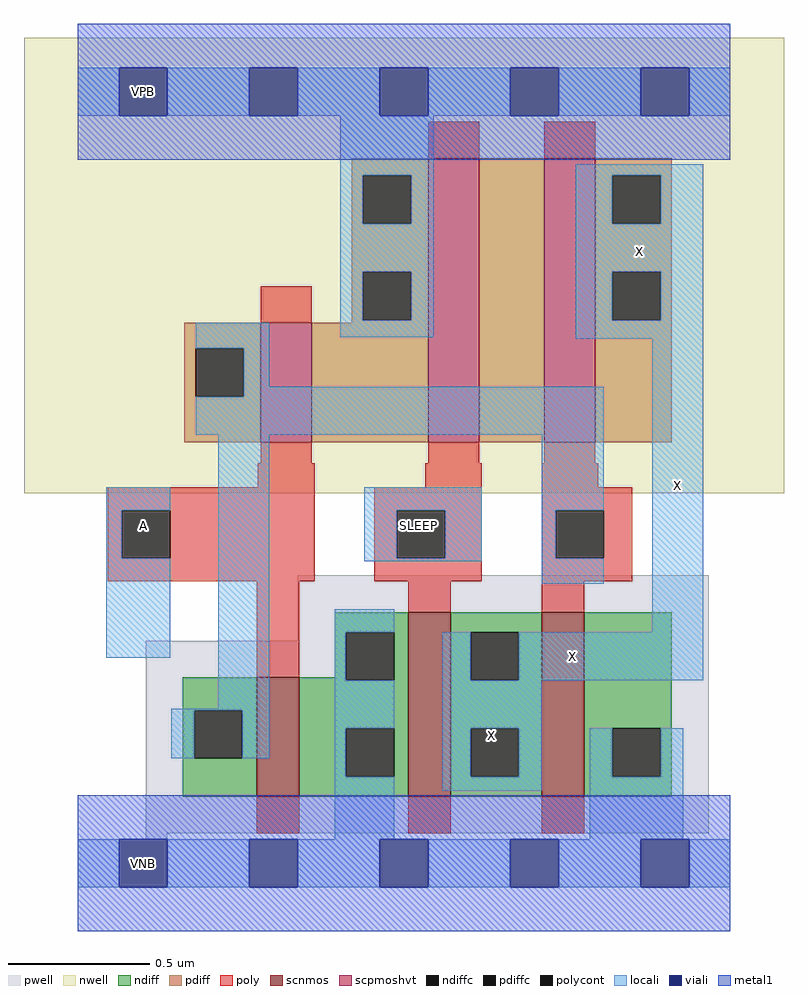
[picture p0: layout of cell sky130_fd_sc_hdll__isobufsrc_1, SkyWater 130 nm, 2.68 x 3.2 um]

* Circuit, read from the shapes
.subckt sky130_fd_sc_hdll__isobufsrc_1 A SLEEP VGND VNB VPB VPWR X
XM1 VGND A n1 VNB sky130_fd_pr__nfet_01v8 w=0.42 l=0.15
XM2 X SLEEP VGND VNB sky130_fd_pr__nfet_01v8 w=0.65 l=0.15
XM3 VGND n1 X VNB sky130_fd_pr__nfet_01v8 w=0.65 l=0.15
XM4 VPWR A n1 VPB sky130_fd_pr__pfet_01v8_hvt w=0.42 l=0.18
XM5 n2 SLEEP VPWR VPB sky130_fd_pr__pfet_01v8_hvt w=1 l=0.18
XM6 X n1 n2 VPB sky130_fd_pr__pfet_01v8_hvt w=1 l=0.18
.ends

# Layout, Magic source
magic
tech sky130A
magscale 1 2
<< nwell >>
rect -38 261 498 582
<< pwell >>
rect 155 157 445 203
rect 48 21 445 157
rect 48 17 63 21
rect 29 -17 63 17
<< scnmos >>
rect 126 47 156 131
rect 233 47 263 177
rect 327 47 357 177
<< scpmoshvt >>
rect 129 297 165 381
rect 247 297 283 497
rect 329 297 365 497
<< ndiff >>
rect 181 163 233 177
rect 181 131 189 163
rect 74 108 126 131
rect 74 74 82 108
rect 116 74 126 108
rect 74 47 126 74
rect 156 129 189 131
rect 223 129 233 163
rect 156 95 233 129
rect 156 61 189 95
rect 223 61 233 95
rect 156 47 233 61
rect 263 163 327 177
rect 263 129 277 163
rect 311 129 327 163
rect 263 95 327 129
rect 263 61 277 95
rect 311 61 327 95
rect 263 47 327 61
rect 357 95 419 177
rect 357 61 377 95
rect 411 61 419 95
rect 357 47 419 61
<< pdiff >>
rect 193 485 247 497
rect 193 451 201 485
rect 235 451 247 485
rect 193 417 247 451
rect 193 383 201 417
rect 235 383 247 417
rect 193 381 247 383
rect 75 363 129 381
rect 75 329 83 363
rect 117 329 129 363
rect 75 297 129 329
rect 165 297 247 381
rect 283 297 329 497
rect 365 485 419 497
rect 365 451 377 485
rect 411 451 419 485
rect 365 417 419 451
rect 365 383 377 417
rect 411 383 419 417
rect 365 297 419 383
<< ndiffc >>
rect 82 74 116 108
rect 189 129 223 163
rect 189 61 223 95
rect 277 129 311 163
rect 277 61 311 95
rect 377 61 411 95
<< pdiffc >>
rect 201 451 235 485
rect 201 383 235 417
rect 83 329 117 363
rect 377 451 411 485
rect 377 383 411 417
<< poly >>
rect 247 497 283 523
rect 329 497 365 523
rect 129 381 165 407
rect 129 282 165 297
rect 247 282 283 297
rect 329 282 365 297
rect 127 265 167 282
rect 245 265 285 282
rect 21 249 167 265
rect 21 215 31 249
rect 65 215 167 249
rect 21 199 167 215
rect 209 249 285 265
rect 209 215 225 249
rect 259 215 285 249
rect 209 199 285 215
rect 327 265 367 282
rect 327 249 391 265
rect 327 215 337 249
rect 371 215 391 249
rect 327 199 391 215
rect 126 131 156 199
rect 233 177 263 199
rect 327 177 357 199
rect 126 21 156 47
rect 233 21 263 47
rect 327 21 357 47
<< polycont >>
rect 31 215 65 249
rect 225 215 259 249
rect 337 215 371 249
<< locali >>
rect 0 527 29 561
rect 63 527 121 561
rect 155 527 213 561
rect 247 527 305 561
rect 339 527 397 561
rect 431 527 460 561
rect 185 485 251 527
rect 185 451 201 485
rect 235 451 251 485
rect 185 417 251 451
rect 185 383 201 417
rect 235 383 251 417
rect 83 363 135 381
rect 185 371 251 383
rect 351 485 441 493
rect 351 451 377 485
rect 411 451 441 485
rect 351 417 441 451
rect 351 383 377 417
rect 411 383 441 417
rect 351 370 441 383
rect 117 336 135 363
rect 117 329 371 336
rect 83 302 371 329
rect 20 249 65 265
rect 20 215 31 249
rect 20 145 65 215
rect 99 109 135 302
rect 202 249 285 265
rect 202 215 225 249
rect 259 215 285 249
rect 202 213 285 215
rect 327 249 371 302
rect 327 215 337 249
rect 327 197 371 215
rect 66 108 135 109
rect 66 74 82 108
rect 116 74 135 108
rect 181 163 223 179
rect 405 163 441 370
rect 181 129 189 163
rect 181 95 223 129
rect 181 61 189 95
rect 181 17 223 61
rect 257 129 277 163
rect 311 129 441 163
rect 257 95 327 129
rect 257 61 277 95
rect 311 61 327 95
rect 257 51 327 61
rect 361 61 377 95
rect 411 61 427 95
rect 361 17 427 61
rect 0 -17 29 17
rect 63 -17 121 17
rect 155 -17 213 17
rect 247 -17 305 17
rect 339 -17 397 17
rect 431 -17 460 17
<< viali >>
rect 29 527 63 561
rect 121 527 155 561
rect 213 527 247 561
rect 305 527 339 561
rect 397 527 431 561
rect 29 -17 63 17
rect 121 -17 155 17
rect 213 -17 247 17
rect 305 -17 339 17
rect 397 -17 431 17
<< metal1 >>
rect 0 561 460 592
rect 0 527 29 561
rect 63 527 121 561
rect 155 527 213 561
rect 247 527 305 561
rect 339 527 397 561
rect 431 527 460 561
rect 0 496 460 527
rect 0 17 460 48
rect 0 -17 29 17
rect 63 -17 121 17
rect 155 -17 213 17
rect 247 -17 305 17
rect 339 -17 397 17
rect 431 -17 460 17
rect 0 -48 460 -17
<< labels >>
flabel locali s 29 221 63 255 0 FreeSans 200 180 0 0 A
port 1 nsew signal input
flabel locali s 405 163 441 370 0 FreeSans 400 180 0 0 X
port 7 nsew signal output
flabel locali s 223 221 257 255 0 FreeSans 200 180 0 0 SLEEP
port 2 nsew signal input
flabel nwell s 29 527 63 561 0 FreeSans 200 0 0 0 VPB
port 5 nsew power bidirectional
flabel pwell s 29 -17 63 17 0 FreeSans 200 0 0 0 VNB
port 4 nsew ground bidirectional
flabel metal1 s 29 -17 63 17 0 FreeSans 200 0 0 0 VGND
port 3 nsew ground bidirectional
flabel metal1 s 29 527 63 561 0 FreeSans 200 0 0 0 VPWR
port 6 nsew power bidirectional
rlabel comment s 0 0 0 0 4 sky130_fd_sc_hdll__lpflow_isobufsrc_1
rlabel locali s 351 370 441 493 1 X
port 7 nsew signal output
rlabel locali s 257 129 441 163 1 X
port 7 nsew signal output
rlabel locali s 257 51 327 129 1 X
port 7 nsew signal output
<< properties >>
string LEFsite unithd
string LEFclass CORE
string FIXED_BBOX 0 0 460 544
string GDS_FILE $PDKPATH/libs.ref/sky130_fd_sc_hdll/gds/sky130_fd_sc_hdll.gds
string LEFsymmetry X Y R90
string GDS_END 142786
string GDS_START 138388
string LEFproperties maskLayoutSubType "abstract" prCellType "standard" originalViewName "layout"
<< end >>
